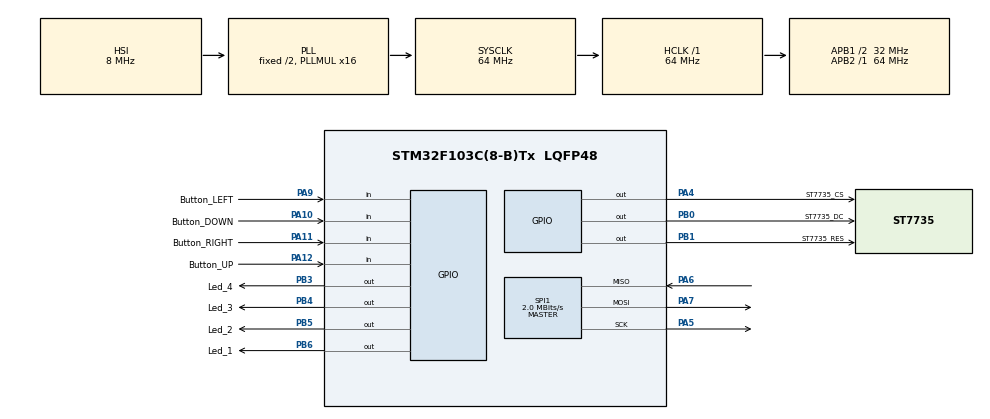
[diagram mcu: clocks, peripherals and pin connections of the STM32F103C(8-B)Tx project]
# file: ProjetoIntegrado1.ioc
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Mcu.Family=STM32F1
Mcu.Name=STM32F103C(8-B)Tx
Mcu.Package=LQFP48
NVIC.PriorityGroup=NVIC_PRIORITYGROUP_4
PA10.GPIO_Label=Button_DOWN
PA10.GPIO_PuPd=GPIO_PULLUP
PA10.Signal=GPIO_Input
PA11.GPIO_Label=Button_RIGHT
PA11.GPIO_PuPd=GPIO_PULLUP
PA11.Signal=GPIO_Input
PA12.GPIO_Label=Button_UP
PA12.GPIO_PuPd=GPIO_PULLUP
PA12.Signal=GPIO_Input
PA13.Mode=Serial_Wire
PA13.Signal=SYS_JTMS-SWDIO
PA14.Mode=Serial_Wire
PA14.Signal=SYS_JTCK-SWCLK
PA4.GPIO_Label=ST7735_CS
PA4.Signal=GPIO_Output
PA5.Mode=Full_Duplex_Master
PA5.Signal=SPI1_SCK
PA6.Mode=Full_Duplex_Master
PA6.Signal=SPI1_MISO
PA7.Mode=Full_Duplex_Master
PA7.Signal=SPI1_MOSI
PA9.GPIO_Label=Button_LEFT
PA9.GPIO_PuPd=GPIO_PULLUP
PA9.Signal=GPIO_Input
PB0.GPIO_Label=ST7735_DC
PB0.Signal=GPIO_Output
PB1.GPIO_Label=ST7735_RES
PB1.Signal=GPIO_Output
PB3.GPIO_Label=Led_4
PB3.Signal=GPIO_Output
PB4.GPIO_Label=Led_3
PB4.Signal=GPIO_Output
PB5.GPIO_Label=Led_2
PB5.Signal=GPIO_Output
PB6.GPIO_Label=Led_1
PB6.Signal=GPIO_Output
ProjectManager.HeapSize=0x200
ProjectManager.StackSize=0x400
ProjectManager.TargetToolchain=STM32CubeIDE
RCC.AHBFreq_Value=64000000
RCC.APB1CLKDivider=RCC_HCLK_DIV2
RCC.APB1Freq_Value=32000000
RCC.APB1TimFreq_Value=64000000
RCC.APB2Freq_Value=64000000
RCC.APB2TimFreq_Value=64000000
RCC.HCLKFreq_Value=64000000
RCC.PLLMUL=RCC_PLL_MUL16
RCC.SYSCLKFreq_VALUE=64000000
RCC.SYSCLKSource=RCC_SYSCLKSOURCE_PLLCLK
RCC.USBFreq_Value=64000000
SPI1.BaudRatePrescaler=SPI_BAUDRATEPRESCALER_32
SPI1.CalculateBaudRate=2.0 MBits/s
SPI1.Direction=SPI_DIRECTION_2LINES
SPI1.Mode=SPI_MODE_MASTER
SPI1.VirtualType=VM_MASTER
board=custom

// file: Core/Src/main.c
/* USER CODE BEGIN Header */
/**
  ******************************************************************************
  * @file           : main.c
  * @brief          : Main program body
  ******************************************************************************
  * @attention
  *
  * <h2><center>&copy; Copyright (c) 2026 STMicroelectronics.
  * All rights reserved.</center></h2>
  *
  * This software component is licensed by ST under BSD 3-Clause license,
  * the "License"; You may not use this file except in compliance with the
  * License. You may obtain a copy of the License at:
  *                        opensource.org/licenses/BSD-3-Clause
  *
  ******************************************************************************
  */
/* USER CODE END Header */
#include "main.h"

/* USER CODE BEGIN Includes */
#include <stdlib.h>
#include <stdio.h>
#include "ST7735\st7735.h"
/* USER CODE END Includes */

SPI_HandleTypeDef hspi1;

/* USER CODE BEGIN PV */
int Stage = 0;
GPIO_PinState botao_UP, botao_LEFT, botao_RIGHT, botao_DOWN;
int nums[4] = {1, 0, 0 , 0};
int senha = 0, i = 0, senha_input = 0;
int Tentativas = 0;
int students = 2;
int presentes = 0;
int TotalSaidas = 0;
bool Confirm = 0;
bool bootStage = 1;
bool Text = false;
/* USER CODE END PV */

void SystemClock_Config(void);
static void MX_GPIO_Init(void);
static void MX_SPI1_Init(void);

int main(void)
{

  /* MCU Configuration--------------------------------------------------------*/

  /* Reset of all peripherals, Initializes the Flash interface and the Systick. */
  HAL_Init();

  /* Configure the system clock */
  SystemClock_Config();

  /* Initialize all configured peripherals */
  MX_GPIO_Init();
  MX_SPI1_Init();
  /* USER CODE BEGIN 2 */
  ST7735_Init();

  //ST7735_Test();
  int Presentes = 0;
  ST7735_FillScreen(WHITE);
  /* USER CODE END 2 */

  /* Infinite loop */
  while (1)
  {

    /* USER CODE BEGIN 3 */
	  botao_UP = HAL_GPIO_ReadPin(Button_UP_GPIO_Port, Button_UP_Pin);
	  botao_LEFT = HAL_GPIO_ReadPin(Button_LEFT_GPIO_Port, Button_LEFT_Pin);
	  botao_RIGHT = HAL_GPIO_ReadPin(Button_RIGHT_GPIO_Port, Button_RIGHT_Pin);
	  botao_DOWN = HAL_GPIO_ReadPin(Button_DOWN_GPIO_Port, Button_DOWN_Pin);

	  if(Stage == 0)
		  Authentication();
	  else if(Stage == 1)
	  {
		  ClassLimit();
	  }
	  else if (Stage == 2)
		  Presentes = ControlePresenca();
	  else if (Stage == 3)
		  RoomControl();
	  else if(Stage == 4)
		  EoDReport(Presentes);

  }
  /* USER CODE END 3 */
}

void SystemClock_Config(void)
{
  RCC_OscInitTypeDef RCC_OscInitStruct = {0};
  RCC_ClkInitTypeDef RCC_ClkInitStruct = {0};

  /** Initializes the RCC Oscillators according to the specified parameters
  * in the RCC_OscInitTypeDef structure.
  */
  RCC_OscInitStruct.OscillatorType = RCC_OSCILLATORTYPE_HSI;
  RCC_OscInitStruct.HSIState = RCC_HSI_ON;
  RCC_OscInitStruct.HSICalibrationValue = RCC_HSICALIBRATION_DEFAULT;
  RCC_OscInitStruct.PLL.PLLState = RCC_PLL_ON;
  RCC_OscInitStruct.PLL.PLLSource = RCC_PLLSOURCE_HSI_DIV2;
  RCC_OscInitStruct.PLL.PLLMUL = RCC_PLL_MUL16;
  if (HAL_RCC_OscConfig(&RCC_OscInitStruct) != HAL_OK)
  {
    Error_Handler();
  }
  /** Initializes the CPU, AHB and APB buses clocks
  */
  RCC_ClkInitStruct.ClockType = RCC_CLOCKTYPE_HCLK|RCC_CLOCKTYPE_SYSCLK
                              |RCC_CLOCKTYPE_PCLK1|RCC_CLOCKTYPE_PCLK2;
  RCC_ClkInitStruct.SYSCLKSource = RCC_SYSCLKSOURCE_PLLCLK;
  RCC_ClkInitStruct.AHBCLKDivider = RCC_SYSCLK_DIV1;
  RCC_ClkInitStruct.APB1CLKDivider = RCC_HCLK_DIV2;
  RCC_ClkInitStruct.APB2CLKDivider = RCC_HCLK_DIV1;

  if (HAL_RCC_ClockConfig(&RCC_ClkInitStruct, FLASH_LATENCY_2) != HAL_OK)
  {
    Error_Handler();
  }
}

static void MX_SPI1_Init(void)
{

  /* SPI1 parameter configuration*/
  hspi1.Instance = SPI1;
  hspi1.Init.Mode = SPI_MODE_MASTER;
  hspi1.Init.Direction = SPI_DIRECTION_2LINES;
  hspi1.Init.DataSize = SPI_DATASIZE_8BIT;
  hspi1.Init.CLKPolarity = SPI_POLARITY_LOW;
  hspi1.Init.CLKPhase = SPI_PHASE_1EDGE;
  hspi1.Init.NSS = SPI_NSS_SOFT;
  hspi1.Init.BaudRatePrescaler = SPI_BAUDRATEPRESCALER_32;
  hspi1.Init.FirstBit = SPI_FIRSTBIT_MSB;
  hspi1.Init.TIMode = SPI_TIMODE_DISABLE;
  hspi1.Init.CRCCalculation = SPI_CRCCALCULATION_DISABLE;
  hspi1.Init.CRCPolynomial = 10;
  if (HAL_SPI_Init(&hspi1) != HAL_OK)
  {
    Error_Handler();
  }

}

static void MX_GPIO_Init(void)
{
  GPIO_InitTypeDef GPIO_InitStruct = {0};

  /* GPIO Ports Clock Enable */
  __HAL_RCC_GPIOA_CLK_ENABLE();
  __HAL_RCC_GPIOB_CLK_ENABLE();

  /*Configure GPIO pin Output Level */
  HAL_GPIO_WritePin(ST7735_CS_GPIO_Port, ST7735_CS_Pin, GPIO_PIN_RESET);

  /*Configure GPIO pin Output Level */
  HAL_GPIO_WritePin(GPIOB, ST7735_DC_Pin|ST7735_RES_Pin|Led_4_Pin|Led_3_Pin
                          |Led_2_Pin|Led_1_Pin, GPIO_PIN_RESET);

  /*Configure GPIO pin : ST7735_CS_Pin */
  GPIO_InitStruct.Pin = ST7735_CS_Pin;
  GPIO_InitStruct.Mode = GPIO_MODE_OUTPUT_PP;
  GPIO_InitStruct.Pull = GPIO_NOPULL;
  GPIO_InitStruct.Speed = GPIO_SPEED_FREQ_LOW;
  HAL_GPIO_Init(ST7735_CS_GPIO_Port, &GPIO_InitStruct);

  /*Configure GPIO pins : ST7735_DC_Pin ST7735_RES_Pin Led_4_Pin Led_3_Pin
                           Led_2_Pin Led_1_Pin */
  GPIO_InitStruct.Pin = ST7735_DC_Pin|ST7735_RES_Pin|Led_4_Pin|Led_3_Pin
                          |Led_2_Pin|Led_1_Pin;
  GPIO_InitStruct.Mode = GPIO_MODE_OUTPUT_PP;
  GPIO_InitStruct.Pull = GPIO_NOPULL;
  GPIO_InitStruct.Speed = GPIO_SPEED_FREQ_LOW;
  HAL_GPIO_Init(GPIOB, &GPIO_InitStruct);

  /*Configure GPIO pins : Button_LEFT_Pin Button_DOWN_Pin Button_RIGHT_Pin Button_UP_Pin */
  GPIO_InitStruct.Pin = Button_LEFT_Pin|Button_DOWN_Pin|Button_RIGHT_Pin|Button_UP_Pin;
  GPIO_InitStruct.Mode = GPIO_MODE_INPUT;
  GPIO_InitStruct.Pull = GPIO_PULLUP;
  HAL_GPIO_Init(GPIOA, &GPIO_InitStruct);

}

/* USER CODE BEGIN 4 */
int PasswordGenerator()
{
	int seed = HAL_GetTick();
	int senha = rand() % 10000;
	ST7735_FillScreen(WHITE);
	ST7735_WriteString(20, 35, "Gerando a senha!", Font_7x10,BLACK,WHITE);
	HAL_Delay(1000);
	ST7735_FillScreen(WHITE);
	//char input_str[6];
	//sprintf(input_str, "%d", 0);
	//ST7735_WriteString(40, 5, input_str, Font_11x18,BLACK,WHITE);
	return senha;
}

void Authentication()
{
	if(bootStage)
	{
		ST7735_WriteString(5, 10, "Clique o botao", Font_7x10,BLACK,WHITE);
		ST7735_WriteString(5, 25, "superior para", Font_7x10,BLACK,WHITE);
		ST7735_WriteString(5, 40, "gerar a senha", Font_7x10,BLACK,WHITE);
		bootStage = 0;
	}

	if(botao_UP == 0 && senha == 0)
	{
		senha = PasswordGenerator();
		senha_input = nums[0] * 1000 + nums[1] * 100 + nums[2] * 10 + nums[3];
		LengthAdjuster(senha_input);
		ST7735_WriteString(10, 50, "^", Font_11x18, 0x001F, WHITE);
		ST7735_WriteString(21, 50, "^^^", Font_11x18, BLACK, WHITE);
		ST7735_WriteString(65, 35, "*", Font_11x18, BLACK, WHITE);
	}
	else if(botao_UP == 0 && senha != 0 && i != 4)
	{
		if(nums[i] == 9)
			nums[i] = 0;
		else
			nums[i]++;
		senha_input = nums[0] * 1000 + nums[1] * 100 + nums[2] * 10 + nums[3];
		LengthAdjuster(senha_input);
		HAL_Delay(300);
	}
	else if(botao_UP == 0 && i == 4)
	{
		if(senha == senha_input)
		{
			HAL_GPIO_WritePin(Led_4_GPIO_Port, Led_4_Pin, 1);
			HAL_Delay(300);
			HAL_GPIO_WritePin(Led_4_GPIO_Port, Led_4_Pin, 0);
			Stage++;
			ST7735_FillScreen(WHITE);
			bootStage = 1;
			return;
		}
		else
		{
			Tentativas++;
			if(Tentativas == 3)
			{
				ST7735_FillScreen(WHITE);
				ST7735_WriteString(5, 10, "Tentativas de senha", Font_7x10,BLACK,WHITE);
				ST7735_WriteString(5, 25, "excedido", Font_7x10,BLACK,WHITE);
				ST7735_WriteString(5, 40, "Dispositivo bloqueado", Font_7x10,BLACK,WHITE);
				ST7735_WriteString(5, 55, "por 20s", Font_7x10,BLACK,WHITE);
				HAL_Delay(20000);
				ST7735_FillScreen(WHITE);
				//senha_input = nums[0] * 1000 + nums[1] * 100 + nums[2] * 10 + nums[3];
				LengthAdjuster(senha_input);
				Tentativas = 0;
			}
			else
			{
				ST7735_FillScreen(WHITE);
				ST7735_WriteString(25, 40, "Senha incorreta", Font_7x10,BLACK,WHITE);
				HAL_Delay(4000);
				ST7735_FillScreen(WHITE);
				//senha_input = nums[0] * 1000 + nums[1] * 100 + nums[2] * 10 + nums[3];
				LengthAdjuster(senha_input);
			}
		}
	}

	if(botao_LEFT == 0 && i != 0 && senha != 0)
	{
		i--;
		switch(i)
		{
			case 0:
				ST7735_WriteString(10, 50, "^", Font_11x18, 0x001F, WHITE);
				ST7735_WriteString(21, 50, "^^^", Font_11x18, BLACK, WHITE);
				ST7735_WriteString(65, 35, "*", Font_11x18, BLACK, WHITE);
				break;
			case 1:
				ST7735_WriteString(10, 50, "^", Font_11x18, BLACK, WHITE);
				ST7735_WriteString(21, 50, "^", Font_11x18, 0x001F, WHITE);
				ST7735_WriteString(32, 50, "^^", Font_11x18, BLACK, WHITE);
				ST7735_WriteString(65, 35, "*", Font_11x18, BLACK, WHITE);
				break;
			case 2:
				ST7735_WriteString(10, 50, "^^", Font_11x18, BLACK, WHITE);
				ST7735_WriteString(32, 50, "^", Font_11x18, 0x001F, WHITE);
				ST7735_WriteString(43, 50, "^", Font_11x18, BLACK, WHITE);
				ST7735_WriteString(65, 35, "*", Font_11x18, BLACK, WHITE);
				break;
			case 3:
				ST7735_WriteString(10, 50, "^^^", Font_11x18, BLACK, WHITE);
				ST7735_WriteString(43, 50, "^", Font_11x18, 0x001F, WHITE);
				ST7735_WriteString(65, 35, "*", Font_11x18, BLACK, WHITE);
				break;
			case 4:
				ST7735_WriteString(10, 50, "^^^^", Font_11x18, BLACK, WHITE);
				ST7735_WriteString(65, 35, "*", Font_11x18, 0x001F, WHITE);
				break;
		}
		HAL_Delay(200);
	}

	if(botao_RIGHT == 0 && i != 4 && senha != 0)
	{
		i++;
		switch(i)
		{
		case 0:
			ST7735_WriteString(10, 50, "^", Font_11x18, 0x001F, WHITE);
			ST7735_WriteString(21, 50, "^^^", Font_11x18, BLACK, WHITE);
			ST7735_WriteString(65, 35, "*", Font_11x18, BLACK, WHITE);
			break;
		case 1:
			ST7735_WriteString(10, 50, "^", Font_11x18, BLACK, WHITE);
			ST7735_WriteString(21, 50, "^", Font_11x18, 0x001F, WHITE);
			ST7735_WriteString(32, 50, "^^", Font_11x18, BLACK, WHITE);
			ST7735_WriteString(65, 35, "*", Font_11x18, BLACK, WHITE);
			break;
		case 2:
			ST7735_WriteString(10, 50, "^^", Font_11x18, BLACK, WHITE);
			ST7735_WriteString(32, 50, "^", Font_11x18, 0x001F, WHITE);
			ST7735_WriteString(43, 50, "^", Font_11x18, BLACK, WHITE);
			ST7735_WriteString(65, 35, "*", Font_11x18, BLACK, WHITE);
			break;
		case 3:
			ST7735_WriteString(10, 50, "^^^", Font_11x18, BLACK, WHITE);
			ST7735_WriteString(43, 50, "^", Font_11x18, 0x001F, WHITE);
			ST7735_WriteString(65, 35, "*", Font_11x18, BLACK, WHITE);
			break;
		case 4:
			ST7735_WriteString(10, 50, "^^^^", Font_11x18, BLACK, WHITE);
			ST7735_WriteString(65, 35, "*", Font_11x18, 0x001F, WHITE);
			break;
		}
		HAL_Delay(400);
	}

	if(botao_DOWN == 0 && senha != 0 && i != 4)
	{
		if(nums[i] == 0)
			nums[i] = 9;
		else
			nums[i]--;
		senha_input = nums[0] * 1000 + nums[1] * 100 + nums[2] * 10 + nums[3];
		LengthAdjuster(senha_input);
		HAL_Delay(400);
	}
}

void ClassLimit()
{
	char input_str[2];

	if(bootStage)
	{
		ST7735_FillScreen(WHITE);
		ST7735_WriteString(5, 50, "Aperte botao", Font_7x10,BLACK,WHITE);
		ST7735_WriteString(5, 60, "superior ou inferior", Font_7x10,BLACK,WHITE);
		ST7735_WriteString(5, 70, "para finalizar", Font_7x10,BLACK,WHITE);
		sprintf(input_str, "%d", students);
		ST7735_WriteString(5, 5, "Quant. Alunos:", Font_7x10,BLACK,WHITE);
		ST7735_WriteString(5, 15, "-", Font_11x18,BLACK,WHITE);
		ST7735_WriteString(20, 15, input_str, Font_11x18,BLACK,WHITE);
		ST7735_WriteString(35, 15, "+", Font_11x18,BLACK,WHITE);
		bootStage = 0;
		Text = 0;
	}

	if(botao_UP == 0 && Confirm == 0)
	{
		ST7735_WriteString(5, 50, "Aperte botao", Font_7x10,WHITE,WHITE);
		ST7735_WriteString(5, 60, "superior ou inferior", Font_7x10,WHITE,WHITE);
		ST7735_WriteString(5, 70, "para finalizar", Font_7x10,WHITE,WHITE);
		ST7735_WriteString(5, 50, "Aperte novamente", Font_7x10,BLACK,WHITE);
		ST7735_WriteString(5, 65, "para confirmar", Font_7x10,BLACK,WHITE);
		HAL_Delay(1000);
		Text = 1;
		Confirm = 1;
	}
	else if(botao_UP == 0 && Confirm == 1)
	{
		ST7735_FillScreen(WHITE);
		ST7735_WriteString(5, 15, "Num de alunos", Font_11x18,BLACK,WHITE);
		ST7735_WriteString(5, 33, "definido", Font_11x18,BLACK,WHITE);
		HAL_GPIO_WritePin(Led_4_GPIO_Port, Led_4_Pin, 1);
		HAL_Delay(300);
		HAL_GPIO_WritePin(Led_4_GPIO_Port, Led_4_Pin, 0);
		Stage++;
		bootStage = 1;
		return;
	}

	if(botao_RIGHT == 0 && students != 99)
	{
		Confirm = 0;
		students++;
		if(Text)
		{
			ST7735_WriteString(5, 50, "Aperte novamente", Font_7x10,WHITE,WHITE);
			ST7735_WriteString(5, 65, "para confirmar", Font_7x10,WHITE,WHITE);
			ST7735_WriteString(5, 50, "Aperte botao", Font_7x10,BLACK,WHITE);
			ST7735_WriteString(5, 60, "superior ou inferior", Font_7x10,BLACK,WHITE);
			ST7735_WriteString(5, 70, "para finalizar", Font_7x10,BLACK,WHITE);
		}
		sprintf(input_str, "%d", students);
		ST7735_WriteString(5, 5, "Quant. Alunos:", Font_7x10,BLACK,WHITE);
		ST7735_WriteString(5, 15, "-", Font_11x18,BLACK,WHITE);
		if(students >= 10)
		{
			ST7735_WriteString(35, 15, "+", Font_11x18,WHITE,WHITE);
			ST7735_WriteString(46, 15, "+", Font_11x18,BLACK,WHITE);
		}
		else
		{
			ST7735_WriteString(46, 15, "+", Font_11x18,WHITE,WHITE);
			ST7735_WriteString(31, 15, "+", Font_11x18,WHITE,WHITE);
			ST7735_WriteString(35, 15, "+", Font_11x18,BLACK,WHITE);
		}
		ST7735_WriteString(20, 15, input_str, Font_11x18,BLACK,WHITE);
		HAL_Delay(200);

	}

	if(botao_LEFT == 0 && students != 0)
	{
		Confirm = 0;
		students--;
		if(Text)
		{
			ST7735_WriteString(5, 50, "Aperte novamente", Font_7x10,WHITE,WHITE);
			ST7735_WriteString(5, 65, "para confirmar", Font_7x10,WHITE,WHITE);
			ST7735_WriteString(5, 50, "Aperte botao", Font_7x10,BLACK,WHITE);
			ST7735_WriteString(5, 60, "superior ou inferior", Font_7x10,BLACK,WHITE);
			ST7735_WriteString(5, 70, "para finalizar", Font_7x10,BLACK,WHITE);
		}
		sprintf(input_str, "%d", students);
		ST7735_WriteString(5, 5, "Quant. Alunos:", Font_7x10,BLACK,WHITE);
		ST7735_WriteString(5, 15, "-", Font_11x18,BLACK,WHITE);
		if(students >= 10)
		{
			ST7735_WriteString(35, 15, "+", Font_11x18,WHITE,WHITE);
			ST7735_WriteString(46, 15, "+", Font_11x18,BLACK,WHITE);
		}
		else
		{
			ST7735_WriteString(46, 15, "+", Font_11x18,WHITE,WHITE);
			ST7735_WriteString(31, 15, "+", Font_11x18,WHITE,WHITE);
			ST7735_WriteString(35, 15, "+", Font_11x18,BLACK,WHITE);
		}
		ST7735_WriteString(20, 15, input_str, Font_11x18,BLACK,WHITE);
		HAL_Delay(200);
	}

	if(botao_DOWN == 0 && Confirm == 0)
	{
		ST7735_WriteString(5, 50, "Aperte botao", Font_7x10,WHITE,WHITE);
		ST7735_WriteString(5, 60, "superior ou inferior", Font_7x10,WHITE,WHITE);
		ST7735_WriteString(5, 70, "para finalizar", Font_7x10,WHITE,WHITE);
		ST7735_WriteString(5, 50, "Aperte novamente", Font_7x10,BLACK,WHITE);
		ST7735_WriteString(5, 65, "para confirmar", Font_7x10,BLACK,WHITE);
		HAL_Delay(1000);
		Text = 1;
		Confirm = 1;
	}
	else if(botao_DOWN == 0 && Confirm == 1)
	{
		ST7735_FillScreen(WHITE);
		ST7735_WriteString(5, 15, "Num de alunos", Font_11x18,BLACK,WHITE);
		ST7735_WriteString(5, 33, "definido", Font_11x18,BLACK,WHITE);
		HAL_GPIO_WritePin(Led_4_GPIO_Port, Led_4_Pin, 1);
		HAL_Delay(300);
		HAL_GPIO_WritePin(Led_4_GPIO_Port, Led_4_Pin, 0);
		Stage++;
		bootStage = 1;
		return;
	}
}

int ControlePresenca()
{
	int id = 0;

		if(bootStage)
		{
			ST7735_FillScreen(WHITE);
			ST7735_WriteString(5, 50, "Aperte botao", Font_7x10,BLACK,WHITE);
			ST7735_WriteString(5, 60, "superior = presente", Font_7x10,BLACK,WHITE);
			ST7735_WriteString(5, 70, "direita = finalizar", Font_7x10,BLACK,WHITE);
			Confirm = 0;
			bootStage = 0;
		}
		if(botao_UP == 0)
		{
			if(presentes == students)
			{
				ST7735_FillScreen(WHITE);
				ST7735_WriteString(5, 13, "Erro: Aluno", Font_7x10,BLACK,WHITE);
				ST7735_WriteString(5, 23, "excedente a qntd", Font_7x10,BLACK,WHITE);
				ST7735_WriteString(5, 33, "esperada", Font_7x10,BLACK,WHITE);
				HAL_Delay(1000);
				ST7735_WriteString(5, 13, "Erro: Aluno", Font_7x10,WHITE,WHITE);
				ST7735_WriteString(5, 23, "excedente a qntd", Font_7x10,WHITE,WHITE);
				ST7735_WriteString(5, 33, "esperada", Font_7x10, WHITE,WHITE);
			}
			else
			{
				ST7735_FillScreen(WHITE);
			//Face ID Insert
			char id_str[4];
			sprintf(id_str, "%d", id);
			ST7735_WriteString(5, 13,  "Aluno numero:", Font_7x10,BLACK,WHITE);
			ST7735_WriteString(5, 23,  id_str, Font_7x10,BLACK,WHITE);
			ST7735_WriteString(5, 33,  "presente", Font_7x10,BLACK,WHITE);
			presentes++;
			HAL_Delay(600);
			ST7735_WriteString(5, 13,  "Aluno numero:", Font_7x10,WHITE,WHITE);
			ST7735_WriteString(5, 23,  id_str, Font_7x10,WHITE,WHITE);
			ST7735_WriteString(5, 33,  "presente", Font_7x10,WHITE,WHITE);
			}
				ST7735_WriteString(5, 50, "Aperte botao", Font_7x10,BLACK,WHITE);
				ST7735_WriteString(5, 60, "superior = presente", Font_7x10,BLACK,WHITE);
				ST7735_WriteString(5, 70, "direita = finalizar", Font_7x10,BLACK,WHITE);
			HAL_Delay(200);
		}

		if(botao_RIGHT == 0 && Confirm == 0)
		{
			ST7735_WriteString(5, 50, "Aperte botao", Font_7x10,WHITE,WHITE);
			ST7735_WriteString(5, 60, "superior = presente", Font_7x10,WHITE,WHITE);
			ST7735_WriteString(5, 70, "direita = finalizar", Font_7x10,WHITE,WHITE);
			ST7735_WriteString(5, 50, "Aperte novamente", Font_7x10,BLACK,WHITE);
			ST7735_WriteString(5, 65, "para confirmar", Font_7x10,BLACK,WHITE);
			Confirm = 1;
			HAL_Delay(400);
		}
		else if (botao_RIGHT == 0 && Confirm == 1)
		{
			ST7735_FillScreen(WHITE);
			ST7735_WriteString(5, 15, "Chamada", Font_11x18,BLACK,WHITE);
			ST7735_WriteString(5, 33, "encerrada", Font_11x18,BLACK,WHITE);
			HAL_GPIO_WritePin(Led_4_GPIO_Port, Led_4_Pin, 1);
			HAL_Delay(300);
			HAL_GPIO_WritePin(Led_4_GPIO_Port, Led_4_Pin, 0);
			Stage++;
			bootStage = 1;
			return presentes;
		}
}

void RoomControl(int presentes)
{
	int OutOfRoom = 0;
	while(1)
	{
		botao_UP = HAL_GPIO_ReadPin(Button_UP_GPIO_Port, Button_UP_Pin);
		botao_LEFT = HAL_GPIO_ReadPin(Button_LEFT_GPIO_Port, Button_LEFT_Pin);
		botao_RIGHT = HAL_GPIO_ReadPin(Button_RIGHT_GPIO_Port, Button_RIGHT_Pin);
		botao_DOWN = HAL_GPIO_ReadPin(Button_DOWN_GPIO_Port, Button_DOWN_Pin);

		if(bootStage)
		{
			ST7735_FillScreen(WHITE);
			ST7735_WriteString(5, 5, "Alunos fora:", Font_7x10,BLACK,WHITE);
			ST7735_WriteString(5, 15,"0", Font_7x10,BLACK,WHITE);
			ST7735_WriteString(5, 30, "Aperte botao", Font_7x10,BLACK,WHITE);
			ST7735_WriteString(5, 40, "superior = sair", Font_7x10,BLACK,WHITE);
			ST7735_WriteString(5, 50, "inferior = chegar", Font_7x10,BLACK,WHITE);
			ST7735_WriteString(5, 60, "direita e esquerda", Font_7x10,BLACK,WHITE);
			ST7735_WriteString(5, 70, "encerra o turno", Font_7x10,BLACK,WHITE);
			bootStage = 0;
		}

		if(botao_UP == 0 && (OutOfRoom != 3 && OutOfRoom != presentes))
		{
			if(Confirm)
				RoomControlPanelSet();
			ST7735_WriteString(5, 5, "Alunos fora:", Font_7x10,BLACK,WHITE);
			char out_str[1];
			OutOfRoom++;
			sprintf(out_str, "%d", OutOfRoom);
			ST7735_WriteString(5, 15,out_str, Font_7x10,BLACK,WHITE);
			HAL_Delay(300);
			TotalSaidas++;
		}
		else if(botao_UP == 0 && (OutOfRoom == 3 || OutOfRoom == presentes))
		{
			Confirm = 0;
			ST7735_FillScreen(WHITE);
			ST7735_WriteString(5, 5, "Limite de alunos", Font_7x10,BLACK,WHITE);
			ST7735_WriteString(5, 15, "fora de sala excedido", Font_7x10,BLACK,WHITE);
			HAL_Delay(750);
			ST7735_FillScreen(WHITE);
			ST7735_WriteString(5, 5, "Alunos fora:", Font_7x10,BLACK,WHITE);
			char out_str[1];
			sprintf(out_str, "%d", OutOfRoom);
			ST7735_WriteString(5, 15,out_str, Font_7x10,BLACK,WHITE);
			ST7735_WriteString(5, 30, "Aperte botao", Font_7x10,BLACK,WHITE);
			ST7735_WriteString(5, 40, "superior = sair", Font_7x10,BLACK,WHITE);
			ST7735_WriteString(5, 50, "inferior = chegar", Font_7x10,BLACK,WHITE);
			ST7735_WriteString(5, 60, "direita e esquerda", Font_7x10,BLACK,WHITE);
			ST7735_WriteString(5, 70, "encerra o turno", Font_7x10,BLACK,WHITE);
		}

		if(botao_DOWN == 0 && OutOfRoom != 0)
		{
			if(Confirm)
			{
				RoomControlPanelSet();
			}
			ST7735_WriteString(5, 5, "Alunos fora:", Font_7x10,BLACK,WHITE);
			char out_str[1];
			OutOfRoom--;
			sprintf(out_str, "%d", OutOfRoom);
			ST7735_WriteString(5, 15,out_str, Font_7x10,BLACK,WHITE);
			HAL_Delay(300);
		}
		else if(botao_DOWN == 0 && OutOfRoom == 0)
		{
			Confirm = 0;
			ST7735_FillScreen(WHITE);
			ST7735_WriteString(5, 5, "Nao ha nenhum aluno", Font_7x10,BLACK,WHITE);
			ST7735_WriteString(5, 15, "fora da sala", Font_7x10,BLACK,WHITE);
			HAL_Delay(750);
			ST7735_FillScreen(WHITE);
			ST7735_WriteString(5, 5, "Alunos fora:", Font_7x10,BLACK,WHITE);
			char out_str[1];
			sprintf(out_str, "%d", OutOfRoom);
			ST7735_WriteString(5, 15,out_str, Font_7x10,BLACK,WHITE);
			ST7735_WriteString(5, 30, "Aperte botao", Font_7x10,BLACK,WHITE);
			ST7735_WriteString(5, 40, "superior = sair", Font_7x10,BLACK,WHITE);
			ST7735_WriteString(5, 50, "inferior = chegar", Font_7x10,BLACK,WHITE);
			ST7735_WriteString(5, 60, "direita e esquerda", Font_7x10,BLACK,WHITE);
			ST7735_WriteString(5, 70, "encerra o turno", Font_7x10,BLACK,WHITE);
		}

		if((botao_LEFT == 0 && botao_RIGHT == 0) && Confirm == 1)
		{
			ST7735_FillScreen(WHITE);
			ST7735_WriteString(5, 10, "Turno", Font_11x18,BLACK,WHITE);
			ST7735_WriteString(5, 25, "encerrado", Font_11x18,BLACK,WHITE);
			Stage++;
			HAL_Delay(600);
			return;
		}
		else if((botao_LEFT == 0 && botao_RIGHT == 0) && Confirm == 0)
		{
			ST7735_FillScreen(WHITE);
			ST7735_WriteString(5, 50, "Aperte novamente", Font_7x10,BLACK,WHITE);
			ST7735_WriteString(5, 65, "para confirmar", Font_7x10,BLACK,WHITE);
			Confirm = 1;
			bootStage = 1;
			HAL_Delay(1000);
			Stage++;
			return;
		}
	}
}

void EoDReport(int Presentes)
{
	char out_str[2], students_str[2], presentes_str[2];
	sprintf(out_str, "%d", TotalSaidas);
	sprintf(students_str, "%d", students);
	sprintf(presentes_str, "%d", Presentes);

		ST7735_FillScreen(WHITE);
		ST7735_WriteString(5, 5, "Total de alunos", Font_7x10,BLACK,WHITE);
		ST7735_WriteString(5, 15, "presentes:", Font_7x10,BLACK,WHITE);
		ST7735_WriteString(5, 25, presentes_str, Font_7x10,BLACK,WHITE);
		ST7735_WriteString(26, 25, "/", Font_7x10,BLACK,WHITE);
		ST7735_WriteString(40, 25, students_str, Font_7x10,BLACK,WHITE);
		ST7735_WriteString(5, 35, "Total de saidas", Font_7x10,BLACK,WHITE);
		ST7735_WriteString(5, 45, "registradas:", Font_7x10,BLACK,WHITE);
		ST7735_WriteString(100, 45, out_str, Font_7x10,BLACK,WHITE);
		ST7735_WriteString(5, 55, "Encerramento em", Font_7x10,BLACK,WHITE);
		ST7735_WriteString(5, 65, "1 minuto", Font_7x10,BLACK,WHITE);
		HAL_Delay(60000);
		bootStage = 0;
		ST7735_FillScreen(WHITE);
		ST7735_WriteString(5, 10, "Programa", Font_11x18,BLACK,WHITE);
		ST7735_WriteString(5, 25, "encerrado", Font_11x18,BLACK,WHITE);
		HAL_Delay(10000);
		ST7735_FillScreen(WHITE);
		Stage++;
}

void LengthAdjuster(int senha_input)
{
	char input_str[6];
	if(senha_input >= 1000)
	{
		ST7735_WriteString(5, 10, "Senha:", Font_11x18,BLACK,WHITE);
		sprintf(input_str, "%d", senha_input);
		ST7735_WriteString(10, 30, input_str, Font_11x18,BLACK,WHITE);
	}
	else if(senha_input >= 100)
	{
		ST7735_WriteString(5, 10, "Senha:", Font_11x18,BLACK,WHITE);
		sprintf(input_str, "%d", senha_input);
		ST7735_WriteString(10, 30, "0", Font_11x18,BLACK,WHITE);
		ST7735_WriteString(21, 30, input_str, Font_11x18,BLACK,WHITE);
	}
	else if(senha_input >= 10)
	{
		ST7735_WriteString(5, 10, "Senha:", Font_11x18,BLACK,WHITE);
		sprintf(input_str, "%d", senha_input);
		ST7735_WriteString(10, 30, "00", Font_11x18,BLACK,WHITE);
		ST7735_WriteString(32, 30, input_str, Font_11x18,BLACK,WHITE);
	}
	else
	{
		ST7735_WriteString(5, 10, "Senha:", Font_11x18,BLACK,WHITE);
		sprintf(input_str, "%d", senha_input);
		ST7735_WriteString(10, 30, "000", Font_11x18,BLACK,WHITE);
		ST7735_WriteString(43, 30, input_str, Font_11x18,BLACK,WHITE);
	}
}

void RoomControlPanelSet()
{
	ST7735_FillScreen(WHITE);
	ST7735_WriteString(5, 30, "Aperte botao", Font_7x10,BLACK,WHITE);
	ST7735_WriteString(5, 40, "superior = sair", Font_7x10,BLACK,WHITE);
	ST7735_WriteString(5, 50, "inferior = chegar", Font_7x10,BLACK,WHITE);
	ST7735_WriteString(5, 60, "direita e esquerda", Font_7x10,BLACK,WHITE);
	ST7735_WriteString(5, 70, "para encerrar", Font_7x10,BLACK,WHITE);
	Confirm = 0;
}
/* USER CODE END 4 */

void Error_Handler(void)
{
  __disable_irq();
  while (1)
  {
  }
}

/************************ (C) COPYRIGHT STMicroelectronics *****END OF FILE****/
